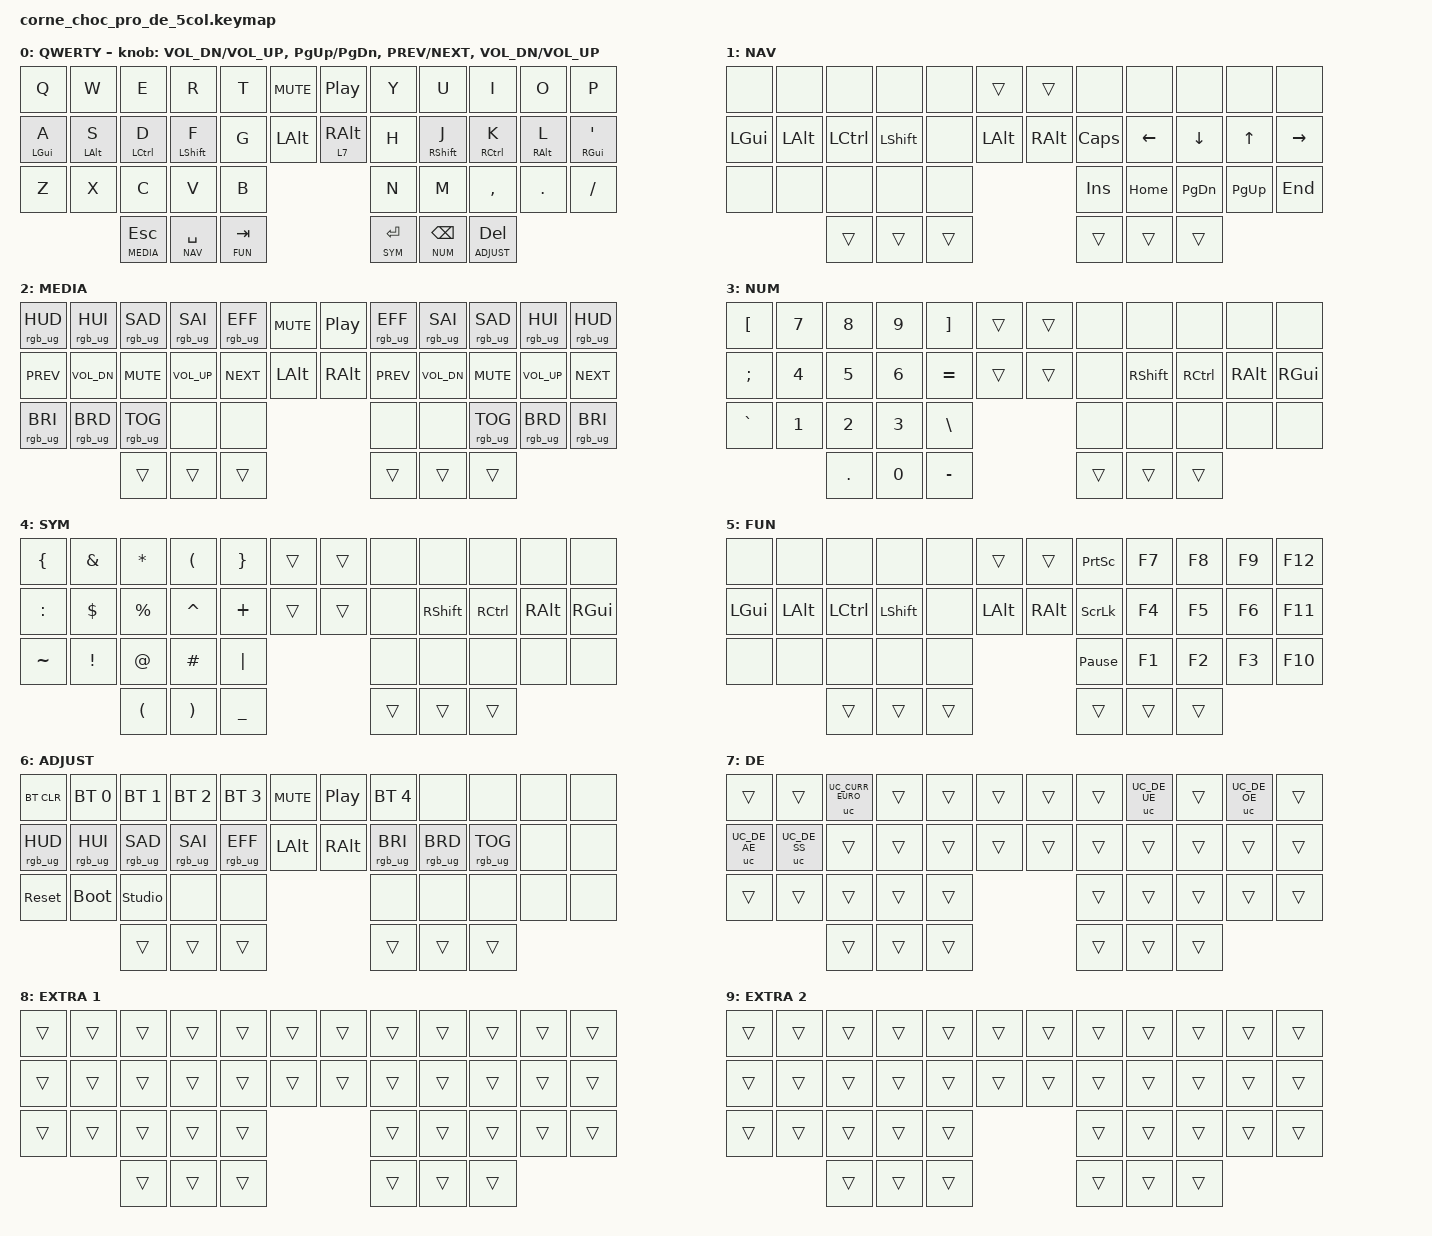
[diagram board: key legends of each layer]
/*
 * Copyright (c) 2020 The ZMK Contributors
 *
 * SPDX-License-Identifier: MIT
 */

#include <behaviors.dtsi>
#include <dt-bindings/zmk/keys.h>
#include <dt-bindings/zmk/bt.h>
#include <dt-bindings/zmk/rgb.h>
#include <behaviors/unicode.dtsi>

#define BASE 0
#define NAV 1
#define MEDIA 2
#define NUM 3
#define SYM 4
#define FUN 5
#define ADJUST 6


// Unicode input for the German umlauts. The host OS stays on US English; the
// module types the code point through an OS-level input method.
&uc {
    // UC_MODE_WIN_COMPOSE = WinCompose (recommended on Windows)
    default-mode = <UC_MODE_WIN_COMPOSE>;
};

&mt {
    flavor = "tap-preferred";
    tapping-term-ms = <200>;
};

/ {
    chosen {
        zmk,physical-layout = &five_col_layout;
    };

    keymap {
        compatible = "zmk,keymap";

        default_layer {
            display-name = "QWERTY";
            // --------------------------------------------------------------------------------------
            // |  Q  |  W  |  E  |  R  |  T  | MUTE | PLAY |  Y  |  U  |  I  |  O  |  P  |
            // | GUI/A | ALT/S | CTRL/D | SHIFT/F | G | ALT | ALT | H | SHIFT/J | CTRL/K | ALT/L | GUI/' |
            // |  Z  |  X  |  C  |  V  |  B  |             |  N  |  M  |  ,  |  .  |  /  |
            //              | ESC/MEDIA | SPACE/NAV | TAB/FUN | RET/SYM | BSPC/NUM | DEL/ADJ |
            bindings = <
                &kp Q       &kp W       &kp E        &kp R        &kp T &kp C_MUTE &kp C_PP &kp Y &kp U        &kp I        &kp O       &kp P
                &mt LGUI A  &mt LALT S  &mt LCTRL D  &mt LSHFT F  &kp G &kp LALT   &lt 7 RALT &kp H &mt RSHFT J  &mt RCTRL K  &mt RALT L  &mt RGUI SQT
                &kp Z       &kp X       &kp C        &kp V        &kp B                     &kp N &kp M        &kp COMMA    &kp DOT     &kp FSLH
                                              &lt MEDIA ESC &lt NAV SPACE &lt FUN TAB      &lt SYM RET &lt NUM BSPC &lt ADJUST DEL
            >;
            sensor-bindings = <&inc_dec_kp C_VOL_DN C_VOL_UP &inc_dec_kp PG_UP PG_DN &inc_dec_kp C_PREV C_NEXT &inc_dec_kp C_VOL_DN C_VOL_UP>;
        };

        nav_layer {
            display-name = "NAV";
            // --------------------------------------------------------------------------------
            // |     |     |      |       |     |      |      |      |      |      |      |      |
            // | GUI | ALT | CTRL | SHIFT |     | ALT  | ALT  | CAPS | LEFT | DOWN |  UP  | RIGHT|
            // |     |     |      |       |     |             | INS  | HOME | PGDN | PGUP | END  |
            //                       |     |     |     |             |     |     |     |
            bindings = <
                &none      &none      &none       &none       &none &trans   &trans   &none    &none      &none       &none       &none
                &kp LGUI   &kp LALT   &kp LCTRL   &kp LSHFT   &none &kp LALT &kp RALT &kp CAPS &kp LEFT   &kp DOWN    &kp UP      &kp RIGHT
                &none      &none      &none       &none       &none                   &kp INS  &kp HOME   &kp PG_DN   &kp PG_UP   &kp END
                                                &trans &trans &trans                  &trans &trans &trans
            >;
        };

        media_layer {
            display-name = "MEDIA";
            // --------------------------------------------------------------------------------------
            // | HUD | HUI | SAD | SAI | EFF | MUTE | PLAY | EFF | SAI | SAD | HUI | HUD |
            // | PREV| VOLD| MUTE| VOLU| NEXT| ALT  | ALT  | PREV| VOLD| MUTE| VOLU| NEXT|
            // | BRI | BRD | TOG |     |     |            |     |     | TOG | BRD | BRI |
            //                       |     |     |     |         |     |     |     |
            bindings = <
                &rgb_ug RGB_HUD &rgb_ug RGB_HUI &rgb_ug RGB_SAD &rgb_ug RGB_SAI &rgb_ug RGB_EFF &kp C_MUTE &kp C_PP &rgb_ug RGB_EFF &rgb_ug RGB_SAI &rgb_ug RGB_SAD &rgb_ug RGB_HUI &rgb_ug RGB_HUD
                &kp C_PREV      &kp C_VOL_DN    &kp C_MUTE      &kp C_VOL_UP    &kp C_NEXT      &kp LALT   &kp RALT &kp C_PREV      &kp C_VOL_DN    &kp C_MUTE      &kp C_VOL_UP    &kp C_NEXT
                &rgb_ug RGB_BRI &rgb_ug RGB_BRD &rgb_ug RGB_TOG &none           &none                                  &none           &none           &rgb_ug RGB_TOG &rgb_ug RGB_BRD &rgb_ug RGB_BRI
                                                                 &trans &trans &trans                                &trans &trans &trans
            >;
        };

        num_layer {
            display-name = "NUM";
            // --------------------------------------------------------------------------------
            // |  [  |  7  |  8  |  9  |  ]  |      |      |     |       |      |     |     |
            // |  ;  |  4  |  5  |  6  |  =  |      |      |     | SHIFT | CTRL | ALT | GUI |
            // |  `  |  1  |  2  |  3  |  \  |             |     |       |      |     |     |
            //                       |  .  |  0  |  -  |          |     |     |     |
            bindings = <
                &kp LBKT   &kp N7   &kp N8    &kp N9   &kp RBKT  &trans &trans &none &none      &none      &none     &none
                &kp SEMI   &kp N4   &kp N5    &kp N6   &kp EQUAL &trans &trans &none &kp RSHFT  &kp RCTRL  &kp RALT  &kp RGUI
                &kp GRAVE  &kp N1   &kp N2    &kp N3   &kp BSLH                &none &none      &none      &none     &none
                                           &kp DOT &kp N0 &kp MINUS            &trans &trans &trans
            >;
        };

        sym_layer {
            display-name = "SYM";
            // --------------------------------------------------------------------------------
            // |  {  |  &  |  *  |  (  |  }  |      |      |     |       |      |     |     |
            // |  :  |  $  |  %  |  ^  |  +  |      |      |     | SHIFT | CTRL | ALT | GUI |
            // |  ~  |  !  |  @  |  #  |  |  |             |     |       |      |     |     |
            //                       |  (  |  )  |  _  |          |     |     |     |
            bindings = <
                &kp LBRC   &kp AMPS  &kp ASTRK  &kp LPAR  &kp RBRC &trans &trans &none &none      &none      &none     &none
                &kp COLON  &kp DLLR  &kp PRCNT  &kp CARET &kp PLUS &trans &trans &none &kp RSHFT  &kp RCTRL  &kp RALT  &kp RGUI
                &kp TILDE  &kp EXCL  &kp AT     &kp HASH  &kp PIPE               &none &none      &none      &none     &none
                                              &kp LPAR &kp RPAR &kp UNDER         &trans &trans &trans
            >;
        };

        fun_layer {
            display-name = "FUN";
            // --------------------------------------------------------------------------------
            // |     |     |      |       |     |      |      | PSCR| F7 | F8 | F9 | F12|
            // | GUI | ALT | CTRL | SHIFT |     | ALT  | ALT  | SLCK| F4 | F5 | F6 | F11|
            // |     |     |      |       |     |             | PAUS| F1 | F2 | F3 | F10|
            //                       |     |     |     |             |     |     |     |
            bindings = <
                &none      &none      &none       &none       &none &trans   &trans   &kp PSCRN       &kp F7 &kp F8 &kp F9 &kp F12
                &kp LGUI   &kp LALT   &kp LCTRL   &kp LSHFT   &none &kp LALT &kp RALT &kp SLCK        &kp F4 &kp F5 &kp F6 &kp F11
                &none      &none      &none       &none       &none                   &kp PAUSE_BREAK &kp F1 &kp F2 &kp F3 &kp F10
                                                &trans &trans &trans                  &trans &trans &trans
            >;
        };

        adjust_layer {
            display-name = "ADJUST";
            // --------------------------------------------------------------------------------
            // | BTCLR| BT1 | BT2 | BT3 | BT4 | MUTE | PLAY | BT5 |     |     |     |     |
            // | HUD | HUI | SAD | SAI | EFF | ALT  | ALT  | BRI | BRD | TOG |     |     |
            // | RST | BOOT| UNLK|     |     |            |     |     |     |     |     |
            //                       |     |     |     |         |     |     |     |
            bindings = <
                &bt BT_CLR       &bt BT_SEL 0    &bt BT_SEL 1    &bt BT_SEL 2    &bt BT_SEL 3    &kp C_MUTE &kp C_PP &bt BT_SEL 4     &none             &none             &none         &none
                &rgb_ug RGB_HUD  &rgb_ug RGB_HUI &rgb_ug RGB_SAD &rgb_ug RGB_SAI &rgb_ug RGB_EFF &kp LALT   &kp RALT &rgb_ug RGB_BRI &rgb_ug RGB_BRD   &rgb_ug RGB_TOG   &none         &none
                &sys_reset       &bootloader      &studio_unlock  &none           &none                                  &none             &none             &none             &none         &none
                                                                 &trans &trans &trans                                  &trans &trans &trans
            >;
        };

        de_layer {
            display-name = "DE";
            // --------------------------------------------------------------
            // Hold the right inner ALT key and press the base letter:
            //   A -> ae   S -> sharp s   E -> euro
            //   U -> ue   O -> oe
            // Shift works as usual, so Shift+A gives a capital umlaut.
            // --------------------------------------------------------------
            bindings = <
                &trans &trans &uc UC_CURR_EURO &trans &trans &trans &trans &trans &uc UC_DE_UE &trans &uc UC_DE_OE &trans
                &uc UC_DE_AE &uc UC_DE_SS &trans &trans &trans &trans &trans &trans &trans &trans &trans &trans
                &trans &trans &trans &trans &trans                   &trans &trans &trans &trans &trans
                                           &trans &trans &trans             &trans &trans &trans
            >;
        };

        extra_layer_1 {
            display-name = "EXTRA 1";
            bindings = <
                &trans &trans &trans &trans &trans &trans &trans &trans &trans &trans &trans &trans
                &trans &trans &trans &trans &trans &trans &trans &trans &trans &trans &trans &trans
                &trans &trans &trans &trans &trans               &trans &trans &trans &trans &trans
                              &trans &trans &trans               &trans &trans &trans
            >;
        };

        extra_layer_2 {
            display-name = "EXTRA 2";
            bindings = <
                &trans &trans &trans &trans &trans &trans &trans &trans &trans &trans &trans &trans
                &trans &trans &trans &trans &trans &trans &trans &trans &trans &trans &trans &trans
                &trans &trans &trans &trans &trans               &trans &trans &trans &trans &trans
                              &trans &trans &trans               &trans &trans &trans
            >;
        };
    };
};
